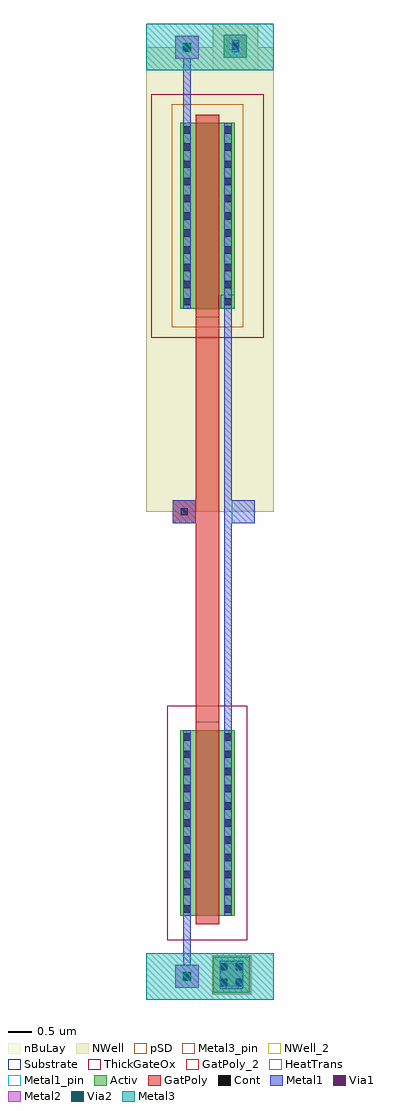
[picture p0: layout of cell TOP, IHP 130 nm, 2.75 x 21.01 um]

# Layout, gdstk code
import gdstk
lib = gdstk.Library(unit=1e-6, precision=1e-09)
def R(c, l, rs):  # rectangles x0, y0, x1, y1
    for r in rs: c.add(gdstk.rectangle(r[:2], r[2:], *l))
def A(c, l, x, y, w, h, nx, ny, dx, dy):  # array of equal rectangles
    R(c, l, [(x+i*dx, y+j*dy, x+i*dx+w, y+j*dy+h) for i in range(nx) for j in range(ny)])
Activ = (1, 0)
GatPoly = (5, 0)
GatPoly_2 = (5, 2)
Cont = (6, 0)
Metal1 = (8, 0)
Metal1_pin = (8, 2)
Metal2 = (10, 0)
pSD = (14, 0)
Via1 = (19, 0)
Via2 = (29, 0)
Metal3 = (30, 0)
Metal3_pin = (30, 2)
NWell = (31, 0)
NWell_2 = (31, 2)
nBuLay = (32, 0)
Substrate = (40, 0)
ThickGateOx = (44, 0)
HeatTrans = (51, 0)

nmoshv_1 = lib.new_cell('nmosHV$1')
R(nmoshv_1, Activ, [(0,0,0.3,0.3), (0,0,1.18,4), (0.88,0,1.18,0.3)])
R(nmoshv_1, GatPoly, [(0.34,-0.18,0.84,4.18)])
R(nmoshv_1, GatPoly_2, [(0.34,-0.18,0.84,4.18)])
A(nmoshv_1, Cont, 0.07, 0.07, 0.16, 0.16, 1, 11, 0, 0.37)
A(nmoshv_1, Cont, 0.95, 0.07, 0.16, 0.16, 1, 11, 0, 0.37)
R(nmoshv_1, Metal1, [(0.07,0,0.23,4), (0.95,0,1.11,4)])
R(nmoshv_1, Metal1_pin, [(0.07,0,0.23,4), (0.95,0,1.11,4)])
R(nmoshv_1, ThickGateOx, [(-0.27,-0.52,1.45,4.52)])
R(nmoshv_1, HeatTrans, [(0.34,-0.18,0.84,4.18)])
nmoshv_1.add(gdstk.Label('nmosHV', (0.59,2), layer=63, texttype=0))
nmoshv_1.add(gdstk.Label('nmosHV', (0.59,2), layer=51, texttype=0))

pmoshv_1 = lib.new_cell('pmosHV$1')
R(pmoshv_1, Activ, [(0,0,0.3,0.3), (0,0,1.18,4), (0.88,0,1.18,0.3)])
R(pmoshv_1, GatPoly, [(0.34,-0.18,0.84,4.18)])
R(pmoshv_1, GatPoly_2, [(0.34,-0.18,0.84,4.18)])
A(pmoshv_1, Cont, 0.07, 0.07, 0.16, 0.16, 1, 11, 0, 0.37)
A(pmoshv_1, Cont, 0.95, 0.07, 0.16, 0.16, 1, 11, 0, 0.37)
R(pmoshv_1, Metal1, [(0.07,0,0.23,4), (0.95,0,1.11,4)])
R(pmoshv_1, Metal1_pin, [(0.07,0,0.23,4), (0.95,0,1.11,4)])
R(pmoshv_1, pSD, [(-0.18,-0.4,1.36,4.4)])
R(pmoshv_1, NWell, [(-0.62,-0.62,1.8,4.62)])
R(pmoshv_1, Substrate, [(0.88,0,1.18,0.3)])
R(pmoshv_1, ThickGateOx, [(-0.62,-0.62,1.8,4.62)])
R(pmoshv_1, HeatTrans, [(0.34,-0.18,0.84,4.18)])
pmoshv_1.add(gdstk.Label('pmosHV', (0.59,2), layer=63, texttype=0))
pmoshv_1.add(gdstk.Label('pmos', (0.59,2), layer=51, texttype=0))

via_6 = lib.new_cell('Via$6')
R(via_6, Metal2, [(-0.25,-0.25,0.25,0.25)])
R(via_6, Via2, [(-0.095,-0.095,0.095,0.095)])
R(via_6, Metal3, [(-0.25,-0.25,0.25,0.25)])

via = lib.new_cell('Via')
R(via, Metal1, [(-0.25,-0.25,0.25,0.25)])
R(via, Metal2, [(-0.25,-0.25,0.25,0.25)])
R(via, Via1, [(-0.095,-0.095,0.095,0.095)])

via_2 = lib.new_cell('Via$2')
R(via_2, GatPoly, [(-0.25,-0.25,0.25,0.25)])
R(via_2, Cont, [(-0.08,-0.08,0.08,0.08)])
R(via_2, Metal1, [(-0.25,-0.25,0.25,0.25)])

inv1 = lib.new_cell('inv1')
R(inv1, GatPoly, [(1.07,5.48,1.57,14.495)])
R(inv1, Metal1, [(0.8,-0.25,0.96,5.3), (1.68,1.3,1.84,18.37), (1.84,9.75,2.34,10.25), (0.8,14.675,0.96,20.25)])
R(inv1, Metal1_pin, [(0.57,9.75,1.07,10.25), (1.84,9.75,2.34,10.25)])
R(inv1, Metal3, [(0,-0.5,2.75,0.5), (0,19.5,2.75,20.5)])
R(inv1, Metal3_pin, [(0,-0.5,2.75,0.5), (0,19.5,2.75,20.5)])
R(inv1, NWell, [(0,10,2.75,20)])
inv1.add(gdstk.Reference(nmoshv_1, (0.73,1.3)))
inv1.add(gdstk.Reference(pmoshv_1, (0.73,14.37)))
inv1.add(gdstk.Reference(via_6, (0.88,20)))
inv1.add(gdstk.Reference(via, (0.88,20)))
inv1.add(gdstk.Reference(via, (0.88,0)))
inv1.add(gdstk.Reference(via_6, (0.88,0)))
inv1.add(gdstk.Reference(via_2, (0.82,10)))
inv1.add(gdstk.Label('VDD', (1.234,20.419), layer=30, texttype=25))
inv1.add(gdstk.Label('VSS', (1.698,-0.452), layer=30, texttype=25))
inv1.add(gdstk.Label('out', (2.09,9.985), layer=8, texttype=25))
inv1.add(gdstk.Label('in', (0.82,9.985), layer=8, texttype=25))

ptap1 = lib.new_cell('ptap1')
R(ptap1, Activ, [(0,0,0.78,0.78)])
R(ptap1, Cont, [(0.14,0.14,0.3,0.3), (0.48,0.14,0.64,0.3), (0.14,0.48,0.3,0.64), (0.48,0.48,0.64,0.64)])
R(ptap1, Metal1, [(0.14,0.09,0.64,0.69), (0.14,0.14,0.64,0.64)])
R(ptap1, Metal1_pin, [(0.14,0.14,0.64,0.64)])
R(ptap1, pSD, [(-0.03,-0.03,0.81,0.81)])
R(ptap1, Substrate, [(0,0,0.78,0.78)])
ptap1.add(gdstk.Label('sub!', (0.39,0.01), layer=63, texttype=0))
ptap1.add(gdstk.Label('sub!', (0.39,0.01), layer=40, texttype=0))

ntap1_1 = lib.new_cell('ntap1$1')
R(ntap1_1, Activ, [(0,0,0.5,0.5)])
R(ntap1_1, Cont, [(0.17,0.17,0.33,0.33)])
R(ntap1_1, Metal1, [(0.17,0.12,0.33,0.38)])
R(ntap1_1, Metal1_pin, [(0.17,0.12,0.33,0.38), (0.17,0.17,0.33,0.33)])
R(ntap1_1, NWell, [(-0.24,-0.24,0.74,0.74), (0,0,0.5,0.5)])
R(ntap1_1, NWell_2, [(0,0,0.5,0.5)])
R(ntap1_1, nBuLay, [(-0.24,-0.24,0.74,0.74)])
ntap1_1.add(gdstk.Label('well', (0.25,0.01), layer=63, texttype=0))
ntap1_1.add(gdstk.Label('well', (0.25,0.01), layer=31, texttype=0))

top = lib.new_cell('TOP')
top.add(gdstk.Reference(inv1, (0,0)))
top.add(gdstk.Reference(ptap1, (1.45,-0.355)))
top.add(gdstk.Reference(ntap1_1, (1.67,19.77)))

lib.write_gds('TOP.gds')
